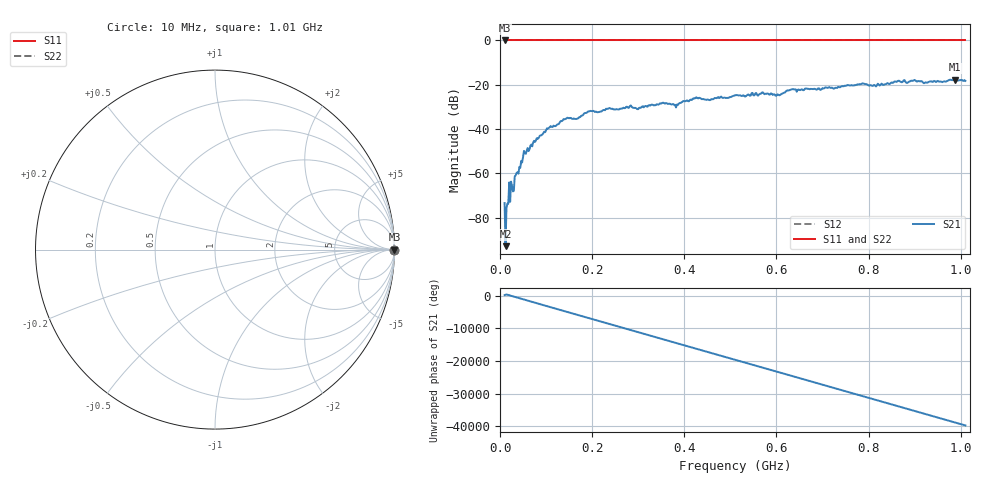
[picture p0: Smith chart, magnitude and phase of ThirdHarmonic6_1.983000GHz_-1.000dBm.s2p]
! 8/16/2025 11:50:44 PM
! C:\ANRITSUVNA\TEMP\TEMP.S2P
! CHANNEL.1
! TR.MEASUREMENT
! RAW.DATA
! RF.CORRECTION.OFF
! AVERAGING.OFF
! IF.BANDWIDTH: 5KHZ
! SWEEPTYPE:  FREQ.SWEEP(Linear)
! Reference Plane Port Info
! PORT:  PORT1  PORT2
! DISTANCE:  0  m  0  m
! TIME:  0  s  0  s
! PHASE.OFFSET:  0  deg.  0  deg.
! LOSS:  0  dB  0  dB
! REF.LOSS:  0  dB  0  dB
! REF.FREQ:  0  Hz  0  Hz
! Power Info
! POWER:  -20  dBm  -20  dBm
! EFF.POWER:  -20  dBm  -20  dBm
! SOURCE.ATTEN:  0  dB  0  dB
! TEST.ATTEN:  0  dB  0  dB
# GHZ S RI R 50.0
! FREQ.GHZ  S11RE  S11IM  S21RE  S21IM  S12RE  S12IM  S22RE  S22IM
!; PortSelection: Port_12
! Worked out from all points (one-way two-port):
!   501 points, 10 MHz to 1.01 GHz, reference 50 ohm
!   highest |S21| = -17.66 dB at 988 MHz (marker M1); lowest = -92.8 dB at 12 MHz (marker M2)
!   lowest |S11| = 0.0 dB at 10 MHz (marker M3)
!   |S11| at or under -10 dB: nowhere
!   |S22| runs from 0.0 to 0.0 dB; largest |S21 - S12| = 1.1
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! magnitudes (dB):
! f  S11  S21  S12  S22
! 10 MHz  0.0  -73.4  0.0  0.0
! 12 MHz  0.0  -92.8  0.0  0.0
! 14 MHz  0.0  -75.7  0.0  0.0
! 22 MHz  0.0  -72.8  0.0  0.0
! 26 MHz  0.0  -65.6  0.0  0.0
! 36 MHz  0.0  -59.8  0.0  0.0
! 56 MHz  0.0  -51.1  0.0  0.0
! 106 MHz  0.0  -39.5  0.0  0.0
! 142 MHz  0.0  -35.4  0.0  0.0
! 178 MHz  0.0  -33.9  0.0  0.0
! 196 MHz  0.0  -31.8  0.0  0.0
! 344 MHz  0.0  -29.0  0.0  0.0
! 382 MHz  0.0  -30.2  0.0  0.0
! 424 MHz  0.0  -26.0  0.0  0.0
! 452 MHz  0.0  -26.7  0.0  0.0
! 510 MHz  0.0  -24.7  0.0  0.0
! 602 MHz  0.0  -24.3  0.0  0.0
! 634 MHz  0.0  -22.0  0.0  0.0
! 678 MHz  0.0  -21.9  0.0  0.0
! 844 MHz  0.0  -19.7  0.0  0.0
! 988 MHz  0.0  -17.7  0.0  0.0
! 1.01 GHz  0.0  -18.2  0.0  0.0
